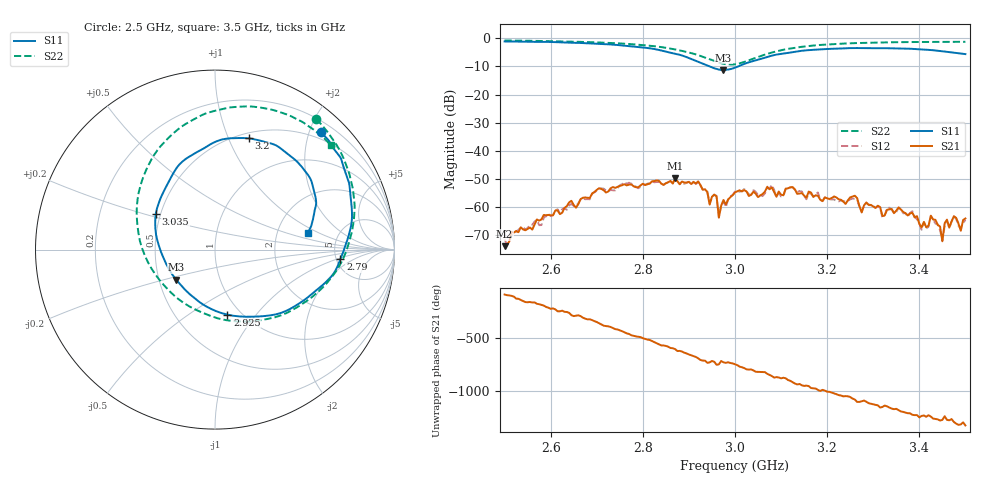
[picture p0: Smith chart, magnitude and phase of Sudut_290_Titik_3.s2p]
# Hz S RI R 50
! CMT, C1220, 16058040, 17.2.0/1
! Date: 15/08/2018 10:44:33
! Data: Format (Calibration Info)
! Freq  S11: Re/Im (F2)  S21: Re/Im (F2)  S12: Re/Im (F2)  S22: Re/Im (F2)
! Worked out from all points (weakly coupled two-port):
!   201 points, 2.5 GHz to 3.5 GHz, reference 50 ohm
!   highest |S21| = -49.88 dB at 2.87 GHz (marker M1); lowest = -74.1 dB at 2.5 GHz (marker M2)
!   lowest |S11| = -11.2 dB at 2.975 GHz (marker M3), VSWR 1.75, Z = 30.7 - j11.1 ohm
!   |S11| at or under -10 dB: 2.946 GHz to 3.007 GHz (60.92 MHz wide, 2.05 % of centre)
!   |S22| runs from -9.3 to -0.7 dB; largest |S21 - S12| = 0.00028
!   S11 on the Smith chart (normalised r, x): 2.5 GHz: 0.37, +2.20; 2.79 GHz: 5.42, -1.15; 2.925 GHz: 0.87, -0.73; 3.035 GHz: 0.47, +0.22; 3.2 GHz: 0.56, +1.19; 3.5 GHz: 2.99, +0.77
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2.5e9  0.5928 0.6532  -1.46e-05 -0.000198  -2.15e-06 -0.000261  0.5637 0.7259
2.67e9  0.7507 0.3436  0.000944 0.00109  0.000962 0.00105  0.7374 0.4532
2.79e9  0.6983 -0.0541  -0.00138 -0.00173  -0.00144 -0.00158  0.7642 0.1081
2.835e9  0.5861 -0.2087  -0.00272 0.00102  -0.00264 0.00082  0.7058 -0.0669
2.87e9  0.4168 -0.3314  -0.00138 0.00289  -0.0014 0.0029  0.6001 -0.2112
2.925e9  0.0688 -0.3621  0.00237 0.00059  0.00228 0.000672  0.297 -0.3854
2.945e9  -0.0545 -0.3134  0.00108 -0.000158  0.00114 -0.000144  0.141 -0.4004
2.96e9  -0.1419 -0.2474  0.00131 -0.000781  0.00135 -0.000792  0.0178 -0.3837
2.965e9  -0.1693 -0.221  0.000574 -0.000293  0.000546 -0.000329  -0.023 -0.3702
2.975e9  -0.2168 -0.1675  0.0013 -0.00018  0.00124 -0.000196  -0.1003 -0.3382
3e9  -0.3001 -0.0149  0.00161 -0.000805  0.00163 -0.000906  -0.2747 -0.209
3.035e9  -0.3295 0.2009  0.000435 -0.00157  0.000389 -0.00158  -0.4189 0.0501
3.17e9  0.087 0.6203  -0.000483 0.00142  -0.000519 0.00142  -0.0911 0.7403
3.2e9  0.1873 0.6199  0.000316 0.00138  0.000354 0.00137  0.0191 0.778
3.335e9  0.4907 0.4517  0.000291 -0.000847  0.000244 -0.000929  0.3926 0.7558
3.385e9  0.5439 0.3575  -0.000587 -0.00051  -0.000605 -0.000575  0.4883 0.7104
3.405e9  0.5565 0.307  -0.000366 -0.000217  -0.000352 -0.000165  0.5191 0.6889
3.425e9  0.5639 0.26  -0.000629 -0.000279  -0.000621 -0.000313  0.5491 0.6689
3.45e9  0.5531 0.2057  -0.000241 2.74e-05  -0.000243 4.36e-05  0.5852 0.6404
3.46e9  0.5478 0.1789  -0.000586 6.21e-05  -0.000543 9.35e-05  0.5979 0.6303
3.49e9  0.5266 0.1119  -0.000247 0.00028  -0.000289 0.000292  0.6335 0.5947
3.5e9  0.5165 0.0936  -0.000323 0.000527  -0.000318 0.000487  0.6447 0.5836
